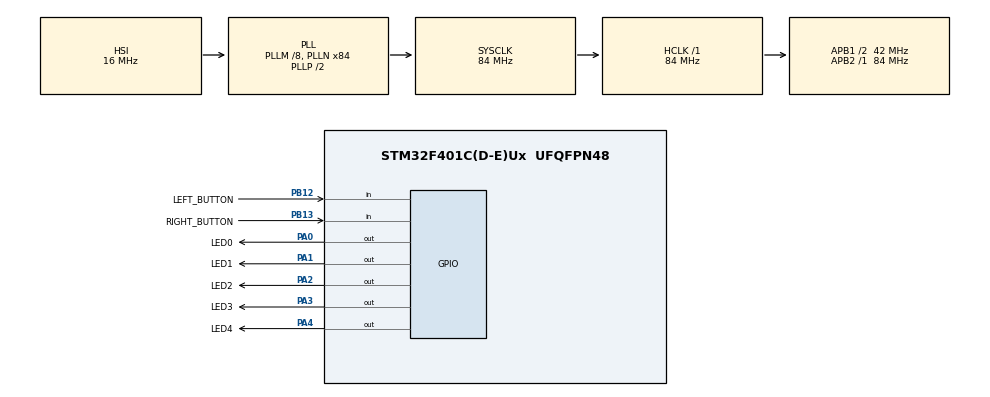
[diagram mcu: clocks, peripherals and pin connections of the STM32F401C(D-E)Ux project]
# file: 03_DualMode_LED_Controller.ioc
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Mcu.Family=STM32F4
Mcu.Name=STM32F401C(D-E)Ux
Mcu.Package=UFQFPN48
NVIC.PriorityGroup=NVIC_PRIORITYGROUP_4
PA0-WKUP.GPIO_Label=LED0
PA0-WKUP.Signal=GPIO_Output
PA1.GPIO_Label=LED1
PA1.Signal=GPIO_Output
PA13.Mode=Serial_Wire
PA13.Signal=SYS_JTMS-SWDIO
PA14.Mode=Serial_Wire
PA14.Signal=SYS_JTCK-SWCLK
PA2.GPIO_Label=LED2
PA2.Signal=GPIO_Output
PA3.GPIO_Label=LED3
PA3.Signal=GPIO_Output
PA4.GPIO_Label=LED4
PA4.Signal=GPIO_Output
PB12.GPIO_Label=LEFT_BUTTON
PB12.GPIO_PuPd=GPIO_PULLUP
PB12.Signal=GPIO_Input
PB13.GPIO_Label=RIGHT_BUTTON
PB13.GPIO_PuPd=GPIO_PULLUP
PB13.Signal=GPIO_Input
PH0\ -\ OSC_IN.Mode=HSE-External-Oscillator
PH0\ -\ OSC_IN.Signal=RCC_OSC_IN
PH1\ -\ OSC_OUT.Mode=HSE-External-Oscillator
PH1\ -\ OSC_OUT.Signal=RCC_OSC_OUT
ProjectManager.HeapSize=0x200
ProjectManager.StackSize=0x400
ProjectManager.TargetToolchain=Makefile
RCC.48MHZClocksFreq_Value=42000000
RCC.AHBFreq_Value=84000000
RCC.APB1CLKDivider=RCC_HCLK_DIV2
RCC.APB1Freq_Value=42000000
RCC.APB1TimFreq_Value=84000000
RCC.APB2Freq_Value=84000000
RCC.APB2TimFreq_Value=84000000
RCC.CortexFreq_Value=84000000
RCC.HCLKFreq_Value=84000000
RCC.HSE_VALUE=25000000
RCC.HSI_VALUE=16000000
RCC.LSE_VALUE=32768
RCC.PLLM=8
RCC.PLLN=84
RCC.SYSCLKFreq_VALUE=84000000
RCC.SYSCLKSource=RCC_SYSCLKSOURCE_PLLCLK
RCC.VCOOutputFreq_Value=168000000
board=custom

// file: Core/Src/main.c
/* USER CODE BEGIN Header */
/**
  ******************************************************************************
  * @file           : main.c
  * @brief          : Main program body
  ******************************************************************************
  * @attention
  *
  * Copyright (c) 2026 STMicroelectronics.
  * All rights reserved.
  *
  * This software is licensed under terms that can be found in the LICENSE file
  * in the root directory of this software component.
  * If no LICENSE file comes with this software, it is provided AS-IS.
  *
  ******************************************************************************
  */
/* USER CODE END Header */
#include "main.h"
#include "gpio.h"

/* USER CODE BEGIN PV */
uint16_t ledPins[] = {LED0_Pin, LED1_Pin, LED2_Pin, LED3_Pin, LED4_Pin}; // LED'lerin tutulduğu array

#define LED_COUNT 5  // led sayısı

#define led_delay 20

enum LED_MODE {
      ALL_OFF = 0,
      ALL_ON,
      ALL_TOGGLE,
      KNIGHT_RIDER,
      RANDOM
    };

    enum LED_MODE currentMode = ALL_OFF;

enum CONTROL_MODE {
  AUTOMATIC = 0,
  MANUAL
};

enum CONTROL_MODE currentControlMode = AUTOMATIC;

int selectedLed = 0; // Manual modda hangi LED'in yanacağını tutar

/* USER CODE END PV */

void SystemClock_Config(void);

/* USER CODE BEGIN 0 */

// ALL LEDS OFF FUNC.
void all_leds_off(void){
  for(int i= 0; i < LED_COUNT; i++){
    HAL_GPIO_WritePin(GPIOA, ledPins[i], GPIO_PIN_RESET);
  }
}

// ALL LEDS ON FUNC.
void all_leds_on(void){
  for(int i= 0; i < LED_COUNT; i++){
    HAL_GPIO_WritePin(GPIOA, ledPins[i], GPIO_PIN_SET);
  }
}

// ALL LEDS TOGGLE FUNC.
void all_leds_toggle(void){
  for(int i= 0; i < LED_COUNT; i++){
    HAL_GPIO_TogglePin(GPIOA, ledPins[i]);
  }
  HAL_Delay(200);
}

// KNIGHT RIDER FUNC.
void leds_on_by_order(void){
  for (int i = 0; i < LED_COUNT; i++){
    HAL_GPIO_WritePin(GPIOA, ledPins[i], GPIO_PIN_SET);
    HAL_Delay(led_delay);
    HAL_GPIO_WritePin(GPIOA, ledPins[i], GPIO_PIN_RESET);
    HAL_Delay(led_delay);
  }

  for (int i = LED_COUNT-1; i > 0 ; i--){
    HAL_GPIO_WritePin(GPIOA, ledPins[i], GPIO_PIN_SET);
    HAL_Delay(led_delay);
    HAL_GPIO_WritePin(GPIOA, ledPins[i], GPIO_PIN_RESET);
    HAL_Delay(led_delay);
  }
}

void leds_random_on(void){

  int i = rand() % 5;

  HAL_GPIO_WritePin(GPIOA, ledPins[i], GPIO_PIN_SET);
  HAL_Delay(led_delay);
  HAL_GPIO_WritePin(GPIOA, ledPins[i], GPIO_PIN_RESET);
  HAL_Delay(led_delay);

}

/* USER CODE END 0 */

int main(void)
{

  /* MCU Configuration--------------------------------------------------------*/

  /* Reset of all peripherals, Initializes the Flash interface and the Systick. */
  HAL_Init();

  /* Configure the system clock */
  SystemClock_Config();

  /* Initialize all configured peripherals */
  MX_GPIO_Init();

  /* Infinite loop */
  /* USER CODE BEGIN WHILE */
  while (1)
  {

    // ---  OTOMATİK MOD ---
    if (currentControlMode == 0)
    {
        if(HAL_GPIO_ReadPin(LEFT_BUTTON_GPIO_Port, LEFT_BUTTON_Pin) == GPIO_PIN_RESET)
        {
            HAL_Delay(50);
            if(currentMode == 0) currentMode = 4; else currentMode--;
            all_leds_off();
            while(HAL_GPIO_ReadPin(LEFT_BUTTON_GPIO_Port, LEFT_BUTTON_Pin) == GPIO_PIN_RESET);
        }
        if(HAL_GPIO_ReadPin(RIGHT_BUTTON_GPIO_Port, RIGHT_BUTTON_Pin) == GPIO_PIN_RESET)
        {
            HAL_Delay(50);
            currentMode++;
            if(currentMode > 4) currentMode = 0;
            all_leds_off();
            while(HAL_GPIO_ReadPin(RIGHT_BUTTON_GPIO_Port, RIGHT_BUTTON_Pin) == GPIO_PIN_RESET);
        }

        // Efekt Switch-Case
        switch(currentMode){
          case 0:
            all_leds_off();
            break;
          case 1:
            all_leds_on();
            break;
          case 2:
            all_leds_toggle();
            HAL_Delay(100);
            break;
          case 3:
            leds_on_by_order();
            break;
          case 4:
            leds_random_on();
            break;
        }
    }

    // --- MANUEL MOD ---
    else if (currentControlMode == 1)
    {
        // --- SOL BUTON KONTROLÜ ---
        if(HAL_GPIO_ReadPin(LEFT_BUTTON_GPIO_Port, LEFT_BUTTON_Pin) == GPIO_PIN_RESET)
        {
            HAL_Delay(100); // DİĞER BUTONU BEKLEME SÜRESİ

            if(HAL_GPIO_ReadPin(RIGHT_BUTTON_GPIO_Port, RIGHT_BUTTON_Pin) == GPIO_PIN_RESET)
            {
                currentControlMode = 0; // İkisi de geldi, otomatiğe geç
                all_leds_off();
                while(HAL_GPIO_ReadPin(LEFT_BUTTON_GPIO_Port, LEFT_BUTTON_Pin) == GPIO_PIN_RESET ||
                      HAL_GPIO_ReadPin(RIGHT_BUTTON_GPIO_Port, RIGHT_BUTTON_Pin) == GPIO_PIN_RESET);
            }
            else // Sadece sol basıldı
            {
                all_leds_off();
                if(selectedLed == 0) selectedLed = 4; else selectedLed--;
                while(HAL_GPIO_ReadPin(LEFT_BUTTON_GPIO_Port, LEFT_BUTTON_Pin) == GPIO_PIN_RESET);
            }
            HAL_Delay(50); // Bounce temizliği
        }

        // --- SAĞ BUTON KONTROLÜ ---
        if(HAL_GPIO_ReadPin(RIGHT_BUTTON_GPIO_Port, RIGHT_BUTTON_Pin) == GPIO_PIN_RESET)
        {
            HAL_Delay(100); // BEKLEME SÜRESİ

            if(HAL_GPIO_ReadPin(LEFT_BUTTON_GPIO_Port, LEFT_BUTTON_Pin) == GPIO_PIN_RESET)
            {
                currentControlMode = 0; // İkisi de geldi, otomatiğe geç
                all_leds_off();
                while(HAL_GPIO_ReadPin(LEFT_BUTTON_GPIO_Port, LEFT_BUTTON_Pin) == GPIO_PIN_RESET ||
                      HAL_GPIO_ReadPin(RIGHT_BUTTON_GPIO_Port, RIGHT_BUTTON_Pin) == GPIO_PIN_RESET);
            }
            else // Sadece sağ basıldı
            {
                all_leds_off();
                selectedLed++;
                if(selectedLed > 4) selectedLed = 0;
                while(HAL_GPIO_ReadPin(RIGHT_BUTTON_GPIO_Port, RIGHT_BUTTON_Pin) == GPIO_PIN_RESET);
            }
            HAL_Delay(50);
        }

        // Seçili LED'i yak
        if(currentControlMode == 1) HAL_GPIO_WritePin(GPIOA, ledPins[selectedLed], GPIO_PIN_SET);
    }
  }
  /* USER CODE END 3 */
}

void SystemClock_Config(void)
{
  RCC_OscInitTypeDef RCC_OscInitStruct = {0};
  RCC_ClkInitTypeDef RCC_ClkInitStruct = {0};

  /** Configure the main internal regulator output voltage
  */
  __HAL_RCC_PWR_CLK_ENABLE();
  __HAL_PWR_VOLTAGESCALING_CONFIG(PWR_REGULATOR_VOLTAGE_SCALE2);

  /** Initializes the RCC Oscillators according to the specified parameters
  * in the RCC_OscInitTypeDef structure.
  */
  RCC_OscInitStruct.OscillatorType = RCC_OSCILLATORTYPE_HSI;
  RCC_OscInitStruct.HSIState = RCC_HSI_ON;
  RCC_OscInitStruct.HSICalibrationValue = RCC_HSICALIBRATION_DEFAULT;
  RCC_OscInitStruct.PLL.PLLState = RCC_PLL_ON;
  RCC_OscInitStruct.PLL.PLLSource = RCC_PLLSOURCE_HSI;
  RCC_OscInitStruct.PLL.PLLM = 8;
  RCC_OscInitStruct.PLL.PLLN = 84;
  RCC_OscInitStruct.PLL.PLLP = RCC_PLLP_DIV2;
  RCC_OscInitStruct.PLL.PLLQ = 4;
  if (HAL_RCC_OscConfig(&RCC_OscInitStruct) != HAL_OK)
  {
    Error_Handler();
  }

  /** Initializes the CPU, AHB and APB buses clocks
  */
  RCC_ClkInitStruct.ClockType = RCC_CLOCKTYPE_HCLK|RCC_CLOCKTYPE_SYSCLK
                              |RCC_CLOCKTYPE_PCLK1|RCC_CLOCKTYPE_PCLK2;
  RCC_ClkInitStruct.SYSCLKSource = RCC_SYSCLKSOURCE_PLLCLK;
  RCC_ClkInitStruct.AHBCLKDivider = RCC_SYSCLK_DIV1;
  RCC_ClkInitStruct.APB1CLKDivider = RCC_HCLK_DIV2;
  RCC_ClkInitStruct.APB2CLKDivider = RCC_HCLK_DIV1;

  if (HAL_RCC_ClockConfig(&RCC_ClkInitStruct, FLASH_LATENCY_2) != HAL_OK)
  {
    Error_Handler();
  }
}

void Error_Handler(void)
{
  __disable_irq();
  while (1)
  {
  }
}
